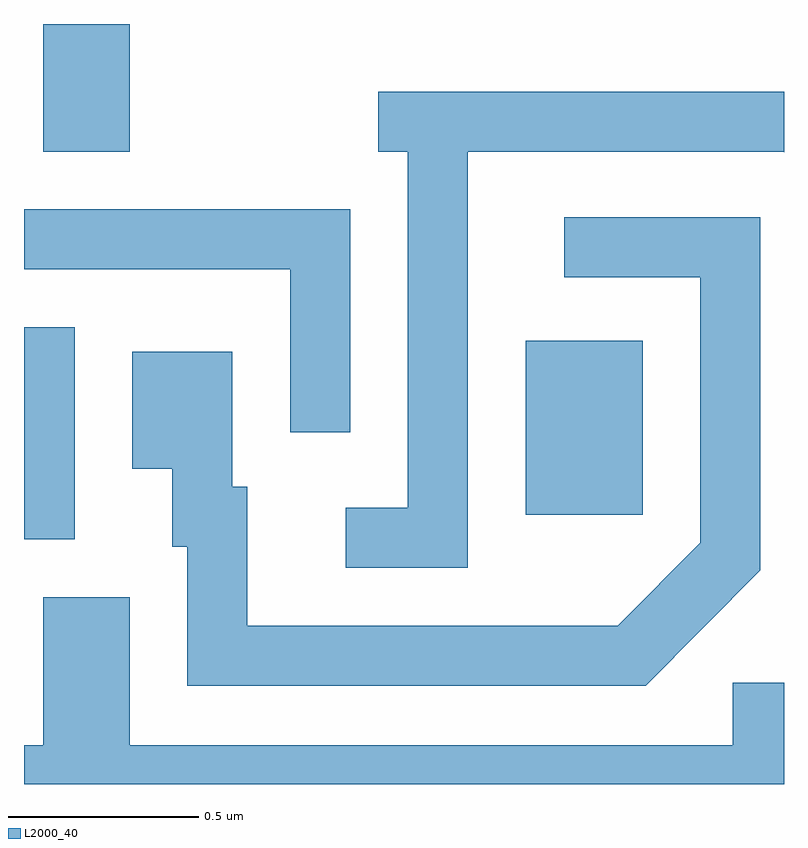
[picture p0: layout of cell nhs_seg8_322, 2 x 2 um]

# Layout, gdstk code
import gdstk
lib = gdstk.Library(unit=1e-6, precision=1e-09)
def R(c, l, rs):  # rectangles x0, y0, x1, y1
    for r in rs: c.add(gdstk.rectangle(r[:2], r[2:], *l))
def P(c, l, *ps):  # polygons
    for p in ps: c.add(gdstk.Polygon(p, *l))
L2000_40 = (2000, 40)

nhs_seg8_322 = lib.new_cell('nhs_seg8_322')
R(nhs_seg8_322, L2000_40, [(187.611,1854.986,187.744,1855.544), (188.931,1855.051,189.239,1855.509), (187.661,1856.006,187.889,1856.342)])
P(nhs_seg8_322, L2000_40, [(188.779,1856.006),(189.609,1856.006),(189.611,1856.004),(189.611,1856.164),(188.543,1856.164),(188.543,1856.006),(188.621,1856.006),(188.621,1855.069),(188.458,1855.069),(188.458,1854.911),(188.779,1854.911)],
  [(188.469,1855.854),(187.611,1855.854),(187.611,1855.696),(188.311,1855.696),(188.311,1855.268),(188.469,1855.268)],
  [(189.549,1854.904),(189.549,1855.834),(189.033,1855.834),(189.033,1855.676),(189.391,1855.676),(189.391,1854.977),(189.174,1854.759),(188.199,1854.759),(188.199,1855.124),(188.159,1855.124),(188.159,1855.479),(187.896,1855.479),(187.896,1855.171),(188.001,1855.171),(188.001,1854.966),(188.041,1854.966),(188.041,1854.601),(189.247,1854.601)],
  [(189.611,1854.609),(189.476,1854.609),(189.476,1854.444),(187.889,1854.444),(187.889,1854.834),(187.661,1854.834),(187.661,1854.444),(187.611,1854.444),(187.611,1854.342),(189.611,1854.342)])

lib.write_gds('nhs_seg8_322.gds')
